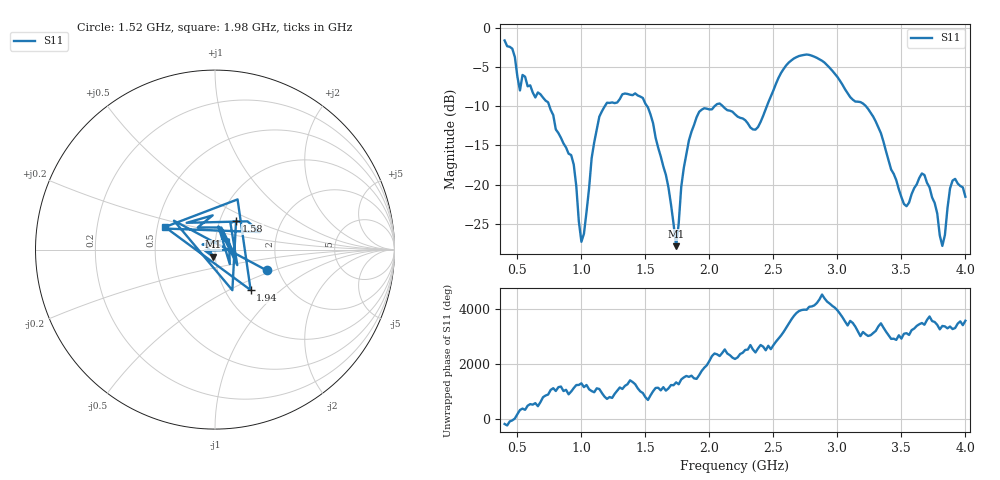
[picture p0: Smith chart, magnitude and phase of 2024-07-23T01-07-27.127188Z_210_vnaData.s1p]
!Created with skrf (http://scikit-rf.org).
# Hz S RI R 50.0
!freq ReS11 ImS11
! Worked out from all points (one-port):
!   181 points, 400 MHz to 4 GHz, reference 50 ohm
!   lowest |S11| = -27.8 dB at 1.74 GHz (marker M1), VSWR 1.08, Z = 48.8 - j3.84 ohm
!   |S11| at or under -10 dB: 750 MHz to 1.183 GHz (433.5 MHz wide, 44.8 % of centre); 1.513 GHz to 2.041 GHz (528.2 MHz wide, 29.7 % of centre); 3.222 GHz to end of sweep (the widest 3 of 4)
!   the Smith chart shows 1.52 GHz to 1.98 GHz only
!   S11 on the Smith chart (normalised r, x): 1.52 GHz: 1.74, -0.44; 1.58 GHz: 1.19, +0.40; 1.94 GHz: 1.31, -0.65; 1.98 GHz: 0.55, +0.15
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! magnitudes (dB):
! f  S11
! 400 MHz  -1.6
! 480 MHz  -3.7
! 520 MHz  -8.0
! 740 MHz  -9.5
! 860 MHz  -14.8
! 940 MHz  -17.4
! 1 GHz  -27.3
! 1.14 GHz  -11.3
! 1.3 GHz  -9.1
! 1.52 GHz  -10.2
! 1.58 GHz  -14.0
! 1.68 GHz  -20.3
! 1.74 GHz  -27.8
! 1.76 GHz  -25.0
! 1.84 GHz  -14.4
! 1.94 GHz  -10.4
! 1.98 GHz  -10.3
! 2.2 GHz  -11.0
! 2.36 GHz  -13.0
! 2.66 GHz  -3.9
! 2.88 GHz  -4.2
! 3.1 GHz  -8.9
! 3.28 GHz  -11.3
! 3.56 GHz  -22.3
! 3.68 GHz  -18.8
! 3.82 GHz  -27.8
! 3.9 GHz  -19.5
! 4 GHz  -21.5
